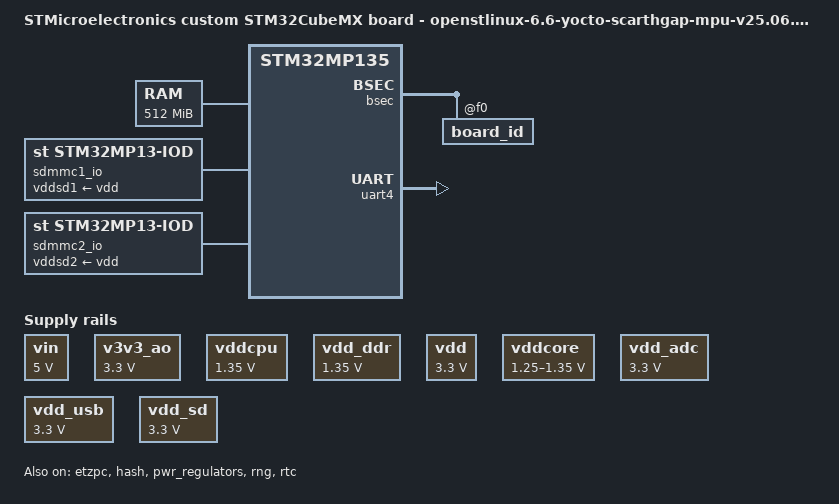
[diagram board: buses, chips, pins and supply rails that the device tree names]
// SPDX-License-Identifier: (GPL-2.0-or-later OR BSD-3-Clause)
/*
 * Copyright (C) 2026, STMicroelectronics - All Rights Reserved
 * Author: STM32CubeMX code generation for STMicroelectronics.
 */

/* For more information on Device Tree configuration, please refer to
 * https://wiki.st.com/stm32mpu/wiki/Category:Device_tree_configuration
 */

/dts-v1/;

#include <dt-bindings/pinctrl/stm32-pinfunc.h>
#include <dt-bindings/clock/stm32mp13-clksrc.h>
#include <dt-bindings/soc/stm32mp13-etzpc.h>
#include "stm32mp135.dtsi"
#include "stm32mp13xf.dtsi"

/* USER CODE BEGIN includes */
#include <dt-bindings/gpio/gpio.h>
#include <dt-bindings/gpio/stm32mp_gpio.h>
#include <dt-bindings/mfd/st,stpmic1.h>
#include <dt-bindings/power/stm32mp1-power.h>
#include <dt-bindings/regulator/st,stm32mp13-regulator.h>
#include <dt-bindings/soc/stm32mp-provisioning.h>
#include <dt-bindings/soc/stm32mp-tzc400-macro.h>
#include <dt-bindings/soc/stm32mp13-tzc400.h>
#include <dt-bindings/tamper/st,stm32mp13-tamp.h>
#include "stm32mp13-pinctrl.dtsi"
/* USER CODE END includes */

/ {
	model = "STMicroelectronics custom STM32CubeMX board - openstlinux-6.6-yocto-scarthgap-mpu-v25.06.11";
	compatible = "st,stm32mp135f-thingscore-1-mx", "st,stm32mp135";

	memory@c0000000 {
		device_type = "memory";
		reg = <0xc0000000 0x20000000>;

		/* USER CODE BEGIN memory */
		/* USER CODE END memory */
	};

	reserved-memory {
		#address-cells = <1>;
		#size-cells = <1>;
		ranges;

		/* USER CODE BEGIN reserved-memory */
		/* USER CODE END reserved-memory */
	};

	/* USER CODE BEGIN root */
	aliases {
		serial0 = &uart4;
	};

	chosen {
		stdout-path = "serial0:115200n8";
	};

	sdmmc1_io: sdmmc1_io {
		compatible = "st,stm32mp13-iod";
		regulator-name = "sdmmc1_io";
		regulator-always-on;
	};

	sdmmc2_io: sdmmc2_io {
		compatible = "st,stm32mp13-iod";
		regulator-name = "sdmmc2_io";
		regulator-always-on;
	};

	vin: vin {
		compatible = "regulator-fixed";
		regulator-name = "vin";
		regulator-min-microvolt = <5000000>;
		regulator-max-microvolt = <5000000>;
		regulator-always-on;
	};

	v3v3_ao: v3v3_ao {
		compatible = "regulator-fixed";
		regulator-name = "v3v3_ao";
		regulator-min-microvolt = <3300000>;
		regulator-max-microvolt = <3300000>;
		regulator-always-on;
	};

	vddcpu: vddcpu {
		compatible = "regulator-fixed";
		regulator-name = "vddcpu";
		regulator-min-microvolt = <1350000>;
		regulator-max-microvolt = <1350000>;
		regulator-always-on;
	};

	vdd_ddr: vdd_ddr {
		compatible = "regulator-fixed";
		regulator-name = "vdd_ddr";
		regulator-min-microvolt = <1350000>;
		regulator-max-microvolt = <1350000>;
		regulator-always-on;
	};

	vdd: vdd {
		compatible = "regulator-fixed";
		regulator-name = "vdd";
		regulator-min-microvolt = <3300000>;
		regulator-max-microvolt = <3300000>;
		regulator-always-on;
	};

	vddcore: vddcore {
		compatible = "regulator-fixed";
		regulator-name = "vddcore";
		regulator-min-microvolt = <1250000>;
		regulator-max-microvolt = <1350000>;
		regulator-always-on;
	};

	vdd_adc: vdd_adc {
		compatible = "regulator-fixed";
		regulator-name = "vdd_adc";
		regulator-min-microvolt = <3300000>;
		regulator-max-microvolt = <3300000>;
		regulator-always-on;
	};

	vdd_usb: vdd_usb {
		compatible = "regulator-fixed";
		regulator-name = "vdd_usb";
		regulator-min-microvolt = <3300000>;
		regulator-max-microvolt = <3300000>;
		regulator-always-on;
	};

	vdd_sd: vdd_sd {
		compatible = "regulator-fixed";
		regulator-name = "vdd_sd";
		regulator-min-microvolt = <3300000>;
		regulator-max-microvolt = <3300000>;
		regulator-always-on;
	};
	/* USER CODE END root */

	clocks {
		/* USER CODE BEGIN clocks */
		/* USER CODE END clocks */

		clk_hsi: clk-hsi {
			clock-frequency = <64000000>;

			/* USER CODE BEGIN clk_hsi */
			/* USER CODE END clk_hsi */
		};
		clk_lse: clk-lse {
			clock-frequency = <32768>;
			st,drive = < LSEDRV_MEDIUM_HIGH >;

			/* USER CODE BEGIN clk_lse */
			/* USER CODE END clk_lse */
		};
		clk_hse: clk-hse {
			clock-frequency = <24000000>;

			/* USER CODE BEGIN clk_hse */
			/* USER CODE END clk_hse */
		};
		clk_i2sin: clk-i2sin {
			status = "disabled";

			/* USER CODE BEGIN clk_i2sin */
			/* USER CODE END clk_i2sin */
		};
	};

}; /*root*/

/*Warning: the configuration of the secured GPIOs should be added in (addons) User Section*/
&pinctrl {
	rcc_pins_mx: rcc_mx-0 {
		pins {
			pinmux = <STM32_PINMUX('A', 8, AF0)>; /* RCC_MCO_1 */
			bias-disable;
			drive-push-pull;
			slew-rate = <0>;
		};
	};

	/* USER CODE BEGIN pinctrl */
	uart4_pins_a: uart4-0 {
		pins1 {
			pinmux = <STM32_PINMUX_NSEC('A', 9, AF8)>; /* UART4_TX */
			bias-disable;
			drive-push-pull;
			slew-rate = <0>;
		};
	
		pins2 {
			pinmux = <STM32_PINMUX_NSEC('H', 14, AF8)>; /* UART4_RX */
			bias-disable;
		};
	};
	/* USER CODE END pinctrl */
};

&gpioa {
	st,protreg = < (TZPROT(8)) >;
};

&gpioi {
	st,protreg = < (TZPROT(1) | TZPROT(3)) >;
};

&bsec {
	status = "okay";

	/* USER CODE BEGIN bsec */
	board_id:board_id@f0{
		reg = <0xf0 0x4>;
		st,non-secure-otp;
	};
	/* USER CODE END bsec */
};

&etzpc {
	status = "okay";
	st,decprot = <
	/*"NS_R S_W" peripherals*/
	DECPROT(STM32MP1_ETZPC_DDRCTRLPHY_ID, DECPROT_NS_R_S_W, DECPROT_LOCK)
	/*"Non Secured" peripherals*/
	DECPROT(STM32MP1_ETZPC_ETH2_ID, DECPROT_NS_RW, DECPROT_UNLOCK)
	DECPROT(STM32MP1_ETZPC_I2C3_ID, DECPROT_NS_RW, DECPROT_UNLOCK)
	DECPROT(STM32MP1_ETZPC_QSPI_ID, DECPROT_NS_RW, DECPROT_UNLOCK)
	DECPROT(STM32MP1_ETZPC_SDMMC1_ID, DECPROT_NS_RW, DECPROT_UNLOCK)
	DECPROT(STM32MP1_ETZPC_SDMMC2_ID, DECPROT_NS_RW, DECPROT_UNLOCK)
	DECPROT(STM32MP1_ETZPC_SPI4_ID, DECPROT_NS_RW, DECPROT_UNLOCK)
	DECPROT(STM32MP1_ETZPC_OTG_ID, DECPROT_NS_RW, DECPROT_UNLOCK)
	DECPROT(STM32MP1_ETZPC_USBPHYCTRL_ID, DECPROT_NS_RW, DECPROT_UNLOCK)
	/*"Secured" peripherals*/
	DECPROT(STM32MP1_ETZPC_HASH_ID, DECPROT_S_RW, DECPROT_UNLOCK)
	DECPROT(STM32MP1_ETZPC_RNG_ID, DECPROT_S_RW, DECPROT_UNLOCK)
	DECPROT(STM32MP1_ETZPC_STGENC_ID, DECPROT_S_RW, DECPROT_UNLOCK)

	/*Restriction: following IDs are not managed  - please to use User-Section if needed:
		  STM32MP1_ETZPC_SRAMx_ID  STM32MP1_ETZPC_BKPSRAM_ID*/

	/* USER CODE BEGIN etzpc_decprot */
		/*STM32CubeMX generates a basic and standard configuration for ETZPC.
		Additional device configurations can be added here if needed.
		"etzpc" node could be also overloaded in "addons" User-Section.*/
	/* USER CODE END etzpc_decprot */
	>;

	/* USER CODE BEGIN etzpc */
	/* USER CODE END etzpc */
};

&hash {
	status = "okay";

	/* USER CODE BEGIN hash */
	/* USER CODE END hash */
};

&pwr_regulators {
	status = "okay";

	/* USER CODE BEGIN pwr_regulators */
	vdd-supply = <&vdd>;
	/* USER CODE END pwr_regulators */
};

&rcc {
	status = "okay";
	clocks = <&clk_hse>, <&clk_hsi>, <&clk_lse>, <&clk_lsi>, <&clk_csi>;
	clock-names = "clk-hse", "clk-hsi", "clk-lse", "clk-lsi", "clk-csi";
	st,clksrc = <
		CLK_MPU_PLL1P
		CLK_AXI_PLL2P
		CLK_MLAHBS_HSI
		CLK_RTC_LSI
		CLK_MCO1_LSE
		CLK_MCO2_DISABLED
		CLK_QSPI_PLL4P
		CLK_CKPER_DISABLED
		CLK_ETH2_PLL3Q
		CLK_SDMMC1_PLL4P
		CLK_SDMMC2_PLL4P
		CLK_STGEN_HSI
		CLK_USBPHY_HSE
		CLK_SPI4_PCLK6
		CLK_USBO_PLL4R
		CLK_I2C12_PCLK1
		CLK_I2C3_PCLK6
		CLK_UART4_PCLK1
		CLK_UART78_PCLK1
		CLK_RNG1_CSI
	>;
	st,clkdiv = <
		DIV(DIV_MPU, 1)
		DIV(DIV_AXI, 0)
		DIV(DIV_MLAHB, 0)
		DIV(DIV_APB1, 0)
		DIV(DIV_APB2, 0)
		DIV(DIV_APB3, 0)
		DIV(DIV_APB4, 1)
		DIV(DIV_APB5, 2)
		DIV(DIV_APB6, 0)
		DIV(DIV_RTC, 0)
		DIV(DIV_MCO1, 0)
		DIV(DIV_MCO2, 0)
	>;
	st,pll_vco {
		pll1_vco_1300Mhz: pll1-vco-1300Mhz {
			src = < CLK_PLL12_HSE >;
			divmn = < 2 80 >;
			frac = < 0x800 >;
		};
		pll2_vco_800Mhz: pll2-vco-800Mhz {
			src = < CLK_PLL12_HSE >;
			divmn = < 2 49 >;
		};
		pll3_vco_600Mhz: pll3-vco-600Mhz {
			src = < CLK_PLL3_HSE >;
			divmn = < 1 49 >;
		};
		pll4_vco_400Mhz: pll4-vco-400Mhz {
			src = < CLK_PLL4_HSI >;
			divmn = < 3 24 >;
		};
		/* USER CODE BEGIN rcc_st-pll_vco */
		/* USER CODE END rcc_st-pll_vco */
	};

	pll1:st,pll@0 {
		compatible = "st,stm32mp1-pll";
		reg = <0>;

		st,pll = < &pll1_cfg1 >;

		pll1_cfg1: pll1_cfg1 {
			st,pll_vco = < &pll1_vco_1300Mhz >;
			st,pll_div_pqr = < 0 1 1 >;
		};
		/* USER CODE BEGIN pll1 */
		/* USER CODE END pll1 */
	};

	pll2:st,pll@1 {
		compatible = "st,stm32mp1-pll";
		reg = <1>;

		st,pll = < &pll2_cfg1 >;

		pll2_cfg1: pll2_cfg1 {
			st,pll_vco = < &pll2_vco_800Mhz >;
			st,pll_div_pqr = < 1 1 0 >;
		};
		/* USER CODE BEGIN pll2 */
		/* USER CODE END pll2 */
	};

	pll3:st,pll@2 {
		compatible = "st,stm32mp1-pll";
		reg = <2>;

		st,pll = < &pll3_cfg1 >;

		pll3_cfg1: pll3_cfg1 {
			st,pll_vco = < &pll3_vco_600Mhz >;
			st,pll_div_pqr = < 1 5 2 >;
		};
		/* USER CODE BEGIN pll3 */
		/* USER CODE END pll3 */
	};

	pll4:st,pll@3 {
		compatible = "st,stm32mp1-pll";
		reg = <3>;

		st,pll = < &pll4_cfg1 >;

		pll4_cfg1: pll4_cfg1 {
			st,pll_vco = < &pll4_vco_400Mhz >;
			st,pll_div_pqr = < 7 0 24 >;
		};
		/* USER CODE BEGIN pll4 */
		/* USER CODE END pll4 */
	};

	st,clk_opp {
		/* CK_MPU clock config for MP13 */
		st,ck_mpu {

			cfg_1 {
				hz = < 650000000 >;
				st,clksrc = < CLK_MPU_PLL1P >;
				st,pll = < &pll1_cfg1 >;
			};
			/* USER CODE BEGIN rcc_st-ck_mpu */
			/* USER CODE END rcc_st-ck_mpu */
		};

		/* CK_AXI clock config for MP13 */
		st,ck_axi {

			cfg_1 {
				hz = < 200000000 >;
				st,clksrc = < CLK_AXI_PLL2P >;
				st,clkdiv = < DIV(DIV_AXI, 0) >;
				st,pll = < &pll2_cfg1 >;
			};
			/* USER CODE BEGIN rcc_st-ck_axi */
			/* USER CODE END rcc_st-ck_axi */
		};

		/* CK_MLAHBS clock config for MP13 */
		st,ck_mlahbs {

			cfg_1 {
				hz = < 64000000 >;
				st,clksrc = < CLK_MLAHBS_HSI >;
				st,clkdiv = < DIV(DIV_MLAHB, 0) >;
			};

			/* USER CODE BEGIN rcc_st-ck_mlahbs */
			/* USER CODE END rcc_st-ck_mlahbs */
		};
	};

	/* USER CODE BEGIN rcc */
	/* USER CODE END rcc */

	st,rcc{
		pinctrl-names = "default";
		pinctrl-0 = <&rcc_pins_mx>;
		status = "okay";

		/* USER CODE BEGIN rcc_st-rcc */
		/* USER CODE END rcc_st-rcc */
	};
};

&rng {
	status = "okay";

	/* USER CODE BEGIN rng */
	/* USER CODE END rng */
};

&rtc {
	status = "okay";

	/* USER CODE BEGIN rtc */
	/* USER CODE END rtc */
};

/* USER CODE BEGIN addons */
&cpu0 {
	cpu-supply = <&vddcpu>;
};

&uart4 {
	pinctrl-names = "default";
	pinctrl-0 = <&uart4_pins_a>;
	status = "okay";
};


&scmi_regu {
	scmi_vddcpu: voltd-vddcpu {
		reg = <VOLTD_SCMI_STPMIC1_BUCK1>;
		voltd-supply = <&vddcpu>;
	};
	scmi_vdd: voltd-vdd {
		reg = <VOLTD_SCMI_STPMIC1_BUCK3>;
		voltd-supply = <&vdd>;
	};
	scmi_vddcore: voltd-vddcore {
		reg = <VOLTD_SCMI_STPMIC1_BUCK4>;
		voltd-supply = <&vddcore>;
	};
	scmi_vdd_adc: voltd-vdd_adc {
		reg = <VOLTD_SCMI_STPMIC1_LDO1>;
		voltd-supply = <&vdd_adc>;
	};
	scmi_vdd_usb: voltd-vdd_usb {
		reg = <VOLTD_SCMI_STPMIC1_LDO4>;
		voltd-supply = <&vdd_usb>;
	};
	scmi_vdd_sd: voltd-vdd_sd {
		reg = <VOLTD_SCMI_STPMIC1_LDO5>;
		voltd-supply = <&vdd_sd>;
	};
};

&sdmmc1_io {
	vddsd1-supply = <&vdd>;
};

&sdmmc2_io {
	vddsd2-supply = <&vdd>;
};
/* USER CODE END addons */

